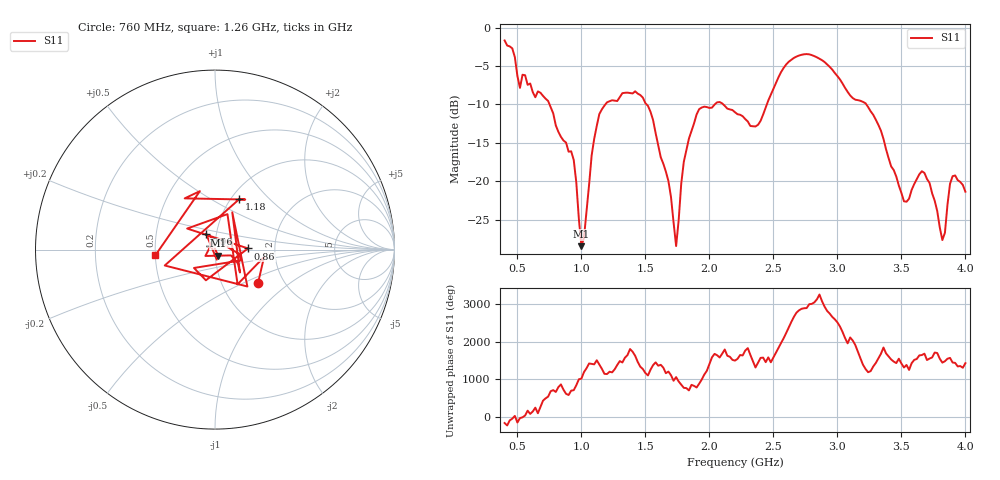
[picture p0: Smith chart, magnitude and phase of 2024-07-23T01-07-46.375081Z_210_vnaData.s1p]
!Created with skrf (http://scikit-rf.org).
# Hz S RI R 50.0
!freq ReS11 ImS11
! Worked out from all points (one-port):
!   181 points, 400 MHz to 4 GHz, reference 50 ohm
!   lowest |S11| = -28.5 dB at 1 GHz (marker M1), VSWR 1.08, Z = 51.6 - j3.48 ohm
!   |S11| at or under -10 dB: 750.9 MHz to 1.188 GHz (436.6 MHz wide, 45 % of centre); 1.509 GHz to 2.042 GHz (533 MHz wide, 30 % of centre); 3.226 GHz to end of sweep (the widest 3 of 4)
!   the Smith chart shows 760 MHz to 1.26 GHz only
!   S11 on the Smith chart (normalised r, x): 760 MHz: 1.48, -0.60; 860 MHz: 1.45, +0.02; 960 MHz: 0.89, +0.15; 1.18 GHz: 1.09, +0.68; 1.26 GHz: 0.50, -0.04
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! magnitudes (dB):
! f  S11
! 400 MHz  -1.7
! 520 MHz  -7.9
! 560 MHz  -6.2
! 760 MHz  -10.4
! 860 MHz  -14.7
! 960 MHz  -20.2
! 1 GHz  -28.5
! 1.1 GHz  -14.5
! 1.18 GHz  -10.2
! 1.26 GHz  -9.5
! 1.3 GHz  -9.1
! 1.52 GHz  -10.2
! 1.68 GHz  -20.0
! 1.74 GHz  -28.5
! 1.76 GHz  -25.1
! 1.8 GHz  -17.5
! 1.92 GHz  -10.6
! 2.2 GHz  -11.0
! 2.38 GHz  -12.7
! 2.66 GHz  -3.9
! 2.88 GHz  -4.2
! 3.1 GHz  -8.8
! 3.28 GHz  -11.4
! 3.56 GHz  -22.3
! 3.68 GHz  -18.9
! 3.82 GHz  -27.7
! 3.9 GHz  -19.4
! 4 GHz  -21.4
